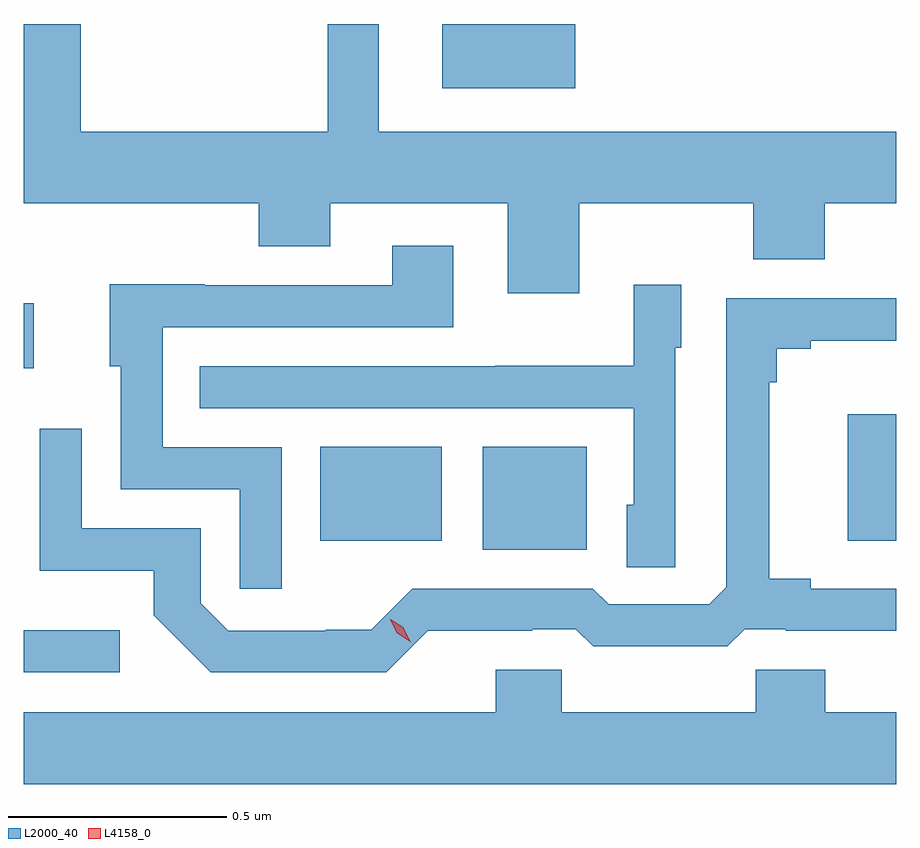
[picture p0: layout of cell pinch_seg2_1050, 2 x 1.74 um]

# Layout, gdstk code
import gdstk
lib = gdstk.Library(unit=1e-6, precision=1e-09)
def R(c, l, rs):  # rectangles x0, y0, x1, y1
    for r in rs: c.add(gdstk.rectangle(r[:2], r[2:], *l))
def P(c, l, *ps):  # polygons
    for p in ps: c.add(gdstk.Polygon(p, *l))
L2000_40 = (2000, 40)
L4158_0 = (4158, 0)

pinch_seg2_1050 = lib.new_cell('pinch_seg2_1050')
R(pinch_seg2_1050, L2000_40, [(371.364,594.612,371.584,594.709), (372.416,594.893,372.655,595.129), (372.044,594.914,372.322,595.129), (373.253,594.914,373.364,595.204), (371.364,595.31,371.386,595.459), (372.323,595.952,372.628,596.099)])
P(pinch_seg2_1050, L2000_40, [(372.637,595.688),(373.037,595.688),(373.037,595.56),(373.201,595.56),(373.201,595.688),(373.364,595.688),(373.364,595.852),(372.178,595.852),(372.178,596.099),(372.061,596.099),(372.061,595.852),(371.494,595.852),(371.494,596.099),(371.364,596.099),(371.364,595.688),(371.903,595.688),(371.903,595.589),(372.067,595.589),(372.067,595.688),(372.473,595.688),(372.473,595.482),(372.637,595.482)],
  [(371.955,595.128),(371.682,595.128),(371.682,595.404),(372.349,595.404),(372.349,595.591),(372.209,595.591),(372.209,595.5),(371.779,595.5),(371.779,595.502),(371.561,595.502),(371.561,595.314),(371.586,595.314),(371.586,595.032),(371.859,595.032),(371.859,594.804),(371.955,594.804)],
  [(372.858,595.356),(372.871,595.356),(372.871,595.501),(372.762,595.501),(372.762,595.315),(372.445,595.315),(372.445,595.314),(371.767,595.314),(371.767,595.218),(372.762,595.218),(372.762,594.996),(372.746,594.996),(372.746,594.853),(372.858,594.853)],
  [(372.29,594.707),(372.53,594.707),(372.53,594.711),(372.63,594.711),(372.67,594.672),(372.977,594.672),(373.017,594.711),(373.111,594.711),(373.111,594.707),(373.364,594.707),(373.364,594.804),(373.168,594.804),(373.168,594.827),(373.073,594.827),(373.073,595.277),(373.091,595.277),(373.091,595.354),(373.168,595.354),(373.168,595.373),(373.364,595.373),(373.364,595.47),(372.975,595.47),(372.975,594.807),(372.936,594.768),(372.705,594.768),(372.669,594.804),(372.255,594.804),(372.161,594.71),(372.056,594.71),(372.056,594.708),(371.832,594.708),(371.769,594.771),(371.769,594.942),(371.496,594.942),(371.496,595.171),(371.4,595.171),(371.4,594.845),(371.662,594.845),(371.662,594.743),(371.792,594.612),(372.195,594.612)],
  [(373.364,594.52),(373.202,594.52),(373.202,594.618),(373.042,594.618),(373.042,594.52),(372.597,594.52),(372.597,594.618),(372.446,594.618),(372.446,594.52),(371.364,594.52),(371.364,594.356),(373.364,594.356)])
P(pinch_seg2_1050, L4158_0, [(372.251,594.681),(372.22,594.702),(372.203,594.735),(372.203,594.735),(372.203,594.735),(372.234,594.715),(372.251,594.681),(372.251,594.681)])

lib.write_gds('pinch_seg2_1050.gds')
